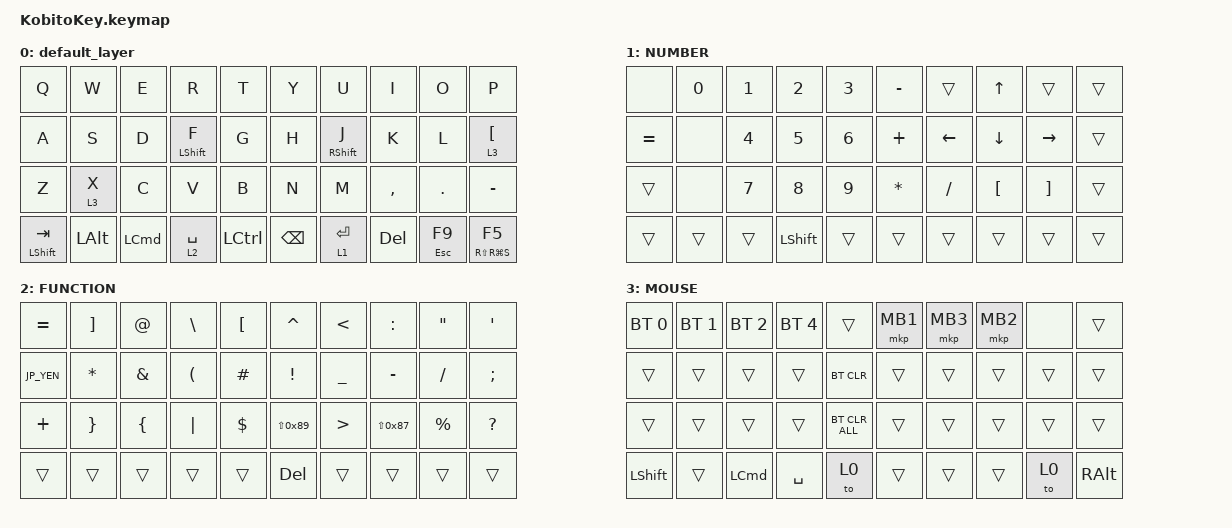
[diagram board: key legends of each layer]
#include <input/processors.dtsi>
#include <behaviors.dtsi>
#include <dt-bindings/zmk/bt.h>
#include <dt-bindings/zmk/keys.h>
#include <dt-bindings/zmk/pointing.h>

// OS設定を日本語キーボードのまま使用するための変換定義

#define JP_DQUOTE       AT                // "
#define JP_AMPERSAND    CARET             // &
#define JP_QUOTE        AMPERSAND         // '
#define JP_EQUAL        UNDER             // =
#define JP_CARET        EQUAL             // ^
#define JP_YEN          0x89              // ¥
#define JP_PLUS         COLON             // +
#define JP_TILDE        PLUS              // ~
#define JP_PIPE         LS(0x89)          // |
#define JP_AT           LEFT_BRACKET      // @
#define JP_COLON        SINGLE_QUOTE      // :
#define JP_ASTERISK     DOUBLE_QUOTES     // *
#define JP_BACKQUOTE    LEFT_BRACE        // `
#define JP_UNDERSCORE   LS(0x87)          // _
#define JP_LBRACKET     RIGHT_BRACKET     // [
#define JP_RBRACKET     BACKSLASH         // ]
#define JP_LPAREN       ASTERISK          // (
#define JP_RPAREN       LEFT_PARENTHESIS  // )
#define JP_LBRACE       RIGHT_BRACE       // {
#define JP_RBRACE       PIPE              // }

/ {
    combos {
        compatible = "zmk,combos";

        combo_eisu {
            timeout-ms = <50>;
            key-positions = <12 13>;
            bindings = <&kp LANG2>;
        };

        combo_kana {
            timeout-ms = <50>;
            key-positions = <16 17>;
            bindings = <&kp LANG1>;
        };

        combo_esc {
            timeout-ms = <50>;
            key-positions = <0 1>;
            bindings = <&kp ESC>;
        };

        combo_tab {
            timeout-ms = <50>;
            key-positions = <10 11>;
            bindings = <&kp TAB>;
        };

        combo_click1 {
            bindings = <&mkp MB1>;
            key-positions = <5 6>;
        };

        combo_click2 {
            bindings = <&mkp MB2>;
            key-positions = <6 7>;
        };
    };

    keymap {
        compatible = "zmk,keymap";

        default_layer {
            bindings = <
&kp Q          &kp W     &kp E     &kp R             &kp T      &kp Y     &kp U              &kp I       &kp O          &kp P
&kp A          &kp S     &kp D     &mt LEFT_SHIFT F  &kp G      &kp H     &mt RIGHT_SHIFT J  &kp K       &kp L          &lt 3 JP_AT
&kp Z          &lt 3 X   &kp C     &kp V             &kp B      &kp N     &kp M              &kp COMMA   &kp PERIOD     &kp MINUS
&mt LSHFT TAB  &kp LALT  &kp LCMD  &lt 2 SPACE       &kp LCTRL  &kp BSPC  &lt 1 ENTER        &kp DELETE  &mt ESCAPE F9  &mt RS(RG(S)) F5
            >;
        };

        layer1 {
            label = "NUMBER";
            bindings = <
&none      &kp N0  &kp N1  &kp N2     &kp N3  &kp MINUS  &trans     &kp UP    &trans     &trans
&kp EQUAL  &none   &kp N4  &kp N5     &kp N6  &kp PLUS   &kp LEFT   &kp DOWN  &kp RIGHT  &trans
&trans     &none   &kp N7  &kp N8     &kp N9  &kp ASTRK  &kp SLASH  &kp LBKT  &kp RBKT   &trans
&trans     &trans  &trans  &kp LSHFT  &trans  &trans     &trans     &trans    &trans     &trans
            >;
        };

        layer2 {
            label = "FUNCTION";
            bindings = <
&kp JP_CARET  &kp JP_LBRACKET  &kp JP_DQUOTE     &kp JP_RBRACKET  &kp JP_AT   &kp JP_AMPERSAND  &kp LESS_THAN     &kp JP_PLUS        &kp JP_ASTERISK  &kp JP_COLON
&kp JP_YEN    &kp JP_LPAREN    &kp JP_QUOTE      &kp JP_RPAREN    &kp HASH    &kp EXCLAMATION   &kp JP_EQUAL      &kp MINUS          &kp SLASH        &kp SEMICOLON
&kp JP_TILDE  &kp JP_LBRACE    &kp JP_BACKQUOTE  &kp JP_RBRACE    &kp DOLLAR  &kp JP_PIPE       &kp GREATER_THAN  &kp JP_UNDERSCORE  &kp PERCENT      &kp QUESTION
&trans        &trans           &trans            &trans           &trans      &kp DEL           &trans            &trans             &trans           &trans
            >;
        };

        layer3 {
            label = "MOUSE";
            bindings = <
&bt BT_SEL 0  &bt BT_SEL 1  &bt BT_SEL 2  &bt BT_SEL 4  &trans          &mkp MB1  &mkp MB3  &mkp MB2  &none   &trans
&trans        &trans        &trans        &trans        &bt BT_CLR      &trans    &trans    &trans    &trans  &trans
&trans        &trans        &trans        &trans        &bt BT_CLR_ALL  &trans    &trans    &trans    &trans  &trans
&kp LSHFT     &trans        &kp LCMD      &kp SPACE     &to 0           &trans    &trans    &trans    &to 0   &kp RALT
            >;
        };
    };
};
